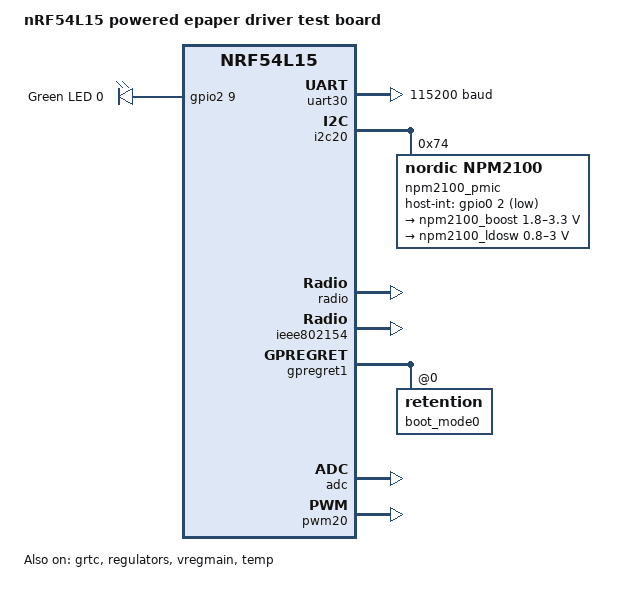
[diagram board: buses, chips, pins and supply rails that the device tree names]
/*
 * Copyright (c) 2024 Nordic Semiconductor ASA
 *
 * SPDX-License-Identifier: Apache-2.0
 */

/dts-v1/;

#include <nordic/nrf54l15_cpuapp.dtsi>

#include "epaper_driver_nrf54l_05_10_15-pinctrl.dtsi"

/ {
	compatible = "ar,epaper_driver_nrf54l15-cpuapp";
	model = "nRF54L15 powered epaper driver test board";

	chosen {
		zephyr,code-partition = &slot0_partition;
		zephyr,sram = &cpuapp_sram;

                zephyr,console = &uart30;
		zephyr,shell-uart = &uart30;
		zephyr,uart-mcumgr = &uart30;
		zephyr,bt-mon-uart = &uart30;
		zephyr,bt-c2h-uart = &uart30;
		zephyr,flash-controller = &rram_controller;
		zephyr,flash = &cpuapp_rram;
		zephyr,ieee802154 = &ieee802154;
		zephyr,boot-mode = &boot_mode0;
	};

        aliases {
		mcuboot-led0 = &led0;

                led0 = &led0;
		watchdog0 = &wdt31;
	};

        leds {
		compatible = "gpio-leds";

		led0: led_0 {
			gpios = <&gpio2 9 GPIO_ACTIVE_HIGH>;
			label = "Green LED 0";
		};
	};
};



/delete-node/ &lfxo;

&grtc {
      /delete-property/ clocks;
      /delete-property/ clock-names;
      clocks = <&pclk>;
      clock-names = "hfclock";

      owned-channels = <0 1 2 3 4 5 6 7 8 9 10 11>;
	/* Channels 7-11 reserved for Zero Latency IRQs, 3-4 for FLPR */
	child-owned-channels = <3 4 7 8 9 10 11>;
	status = "okay";
};


&cpuapp_sram {
	status = "okay";
};

&hfxo {
	load-capacitors = "internal";
	load-capacitance-femtofarad = <15000>;
        startup-time-us = <854>;
};

&regulators {
	status = "okay";
};

&vregmain {
	status = "okay";
	regulator-initial-mode = <NRF5X_REG_MODE_DCDC>;
};

&uart20 {
	status = "disabled";
        
        current-speed = <115200>;
	pinctrl-0 = <&uart20_default>;
	pinctrl-1 = <&uart20_sleep>;
	pinctrl-names = "default", "sleep";
};
&uart30 {
        status = "okay";
	current-speed = <115200>;
	pinctrl-0 = <&uart30_default>;
	pinctrl-1 = <&uart30_sleep>;
	pinctrl-names = "default", "sleep";
};

&i2c20 {
        compatible = "nordic,nrf-twim";
        status = "okay";
        pinctrl-0 = <&i2c20_default>;
        pinctrl-1 = <&i2c20_sleep>;
        pinctrl-names = "default", "sleep";

        npm2100_pmic: pmic@74 {
                compatible = "nordic,npm2100";
                reg = <0x74>;
                pmic-int-pin = <1>;
                pmic-int-flags = <(GPIO_ACTIVE_LOW | GPIO_OPEN_DRAIN)>;
                host-int-type = "level";
                host-int-gpios = <&gpio0 2 GPIO_ACTIVE_LOW>;
                shiphold-longpress = "disable";
                

                npm2100_gpio: gpio-controller {
                        compatible = "nordic,npm2100-gpio";
                        gpio-controller;
                        #gpio-cells = <2>;
                        ngpios = <2>;
                };

                npm2100_regulators: regulators {
                        compatible = "nordic,npm2100-regulator";

                        /* limits are set to min/max allowed values */
                        npm2100_boost: BOOST {
                                regulator-min-microvolt = <1800000>;
                                regulator-max-microvolt = <3300000>;
                                regulator-init-microvolt = <3300000>;
                                regulator-init-microamp = <0>;
                        };

                        npm2100_ldosw: LDOSW {
                                regulator-min-microvolt = <800000>;
                                regulator-max-microvolt = <3000000>;
                        };
                };

                npm2100_wdt: watchdog {
                        compatible = "nordic,npm2100-wdt";
                };

                npm2100_vbat: vbat {
                        compatible = "nordic,npm2100-vbat";
                };
        };

};

&nfct {
	status = "disabled";
};

&gpio0 {
	status = "okay";
};

&gpio1 {
	status = "okay";
};

&gpio2 {
	status = "okay";
};

&gpiote20 {
	status = "okay";
};

&gpiote30 {
	status = "okay";
};

&radio {
	status = "okay";
};

&ieee802154 {
	status = "okay";
};

&temp {
	status = "okay";
};

&clock {
	status = "okay";
};

&gpregret1 {
	status = "okay";

	boot_mode0: boot_mode@0 {
		compatible = "zephyr,retention";
		status = "okay";
		reg = <0x0 0x1>;
	};
};

&spi00 {
	status = "disabled";
};

&adc {
	status = "okay";
};

&pwm20 {
	status = "okay";
	pinctrl-0 = <&pwm20_default>;
	pinctrl-1 = <&pwm20_sleep>;
	pinctrl-names = "default", "sleep";
};

/* Get a node label for wi-fi spi to use in shield files */
wifi_spi: &spi22 {};


/* Include default memory partition configuration file */
#include <nordic/nrf54l15_partition.dtsi>
